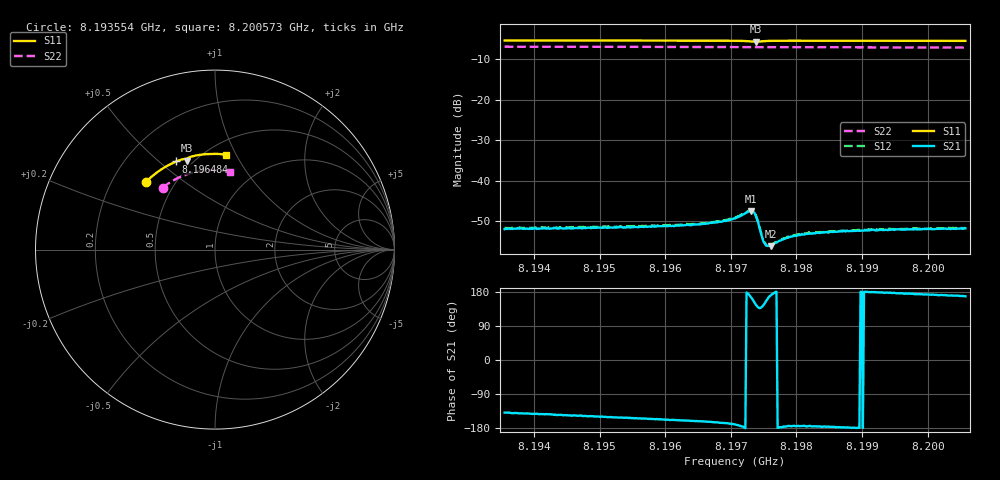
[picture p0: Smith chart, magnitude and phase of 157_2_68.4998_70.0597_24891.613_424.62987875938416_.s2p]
#  HZ  S  RI  R  50.00
! Rohde & Schwarz Vector Network Analyzer
! Rohde-Schwarz,ZNB20-2Port,1311601062101988,3.16
! Created: UTC 3/20/2024, 5:10:46 PM
! freq[Hz]  re:S11  im:S11  re:S21  im:S21  re:S12  im:S12  re:S22  im:S22
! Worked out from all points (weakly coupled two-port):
!   401 points, 8.193554 GHz to 8.200573 GHz, reference 50 ohm
!   highest |S21| = -47.44 dB at 8.197309 GHz (marker M1); lowest = -56.2 dB at 8.197608 GHz (marker M2)
!   lowest |S11| = -5.7 dB at 8.197379 GHz (marker M3), VSWR 3.16, Z = 23.1 + j31.4 ohm
!   |S11| at or under -10 dB: nowhere
!   |S22| runs from -7.1 to -6.9 dB; largest |S21 - S12| = 0.00025
!   S11 on the Smith chart (normalised r, x): 8.193554 GHz: 0.34, +0.36; 8.196484 GHz: 0.41, +0.57; 8.200573 GHz: 0.62, +0.91
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8.1935537e9  -0.3867 0.3752  -0.0019 -0.00166  -0.00203 -0.00163  -0.2912 0.3455
8.1947295e9  -0.324 0.4295  -0.00217 -0.00141  -0.0023 -0.00136  -0.2367 0.3827
8.1959053e9  -0.2534 0.4736  -0.00252 -0.00109  -0.00258 -0.00102  -0.1777 0.4117
8.1964844e9  -0.2157 0.4908  -0.00271 -0.000936  -0.00285 -0.000841  -0.147 0.4226
8.1968354e9  -0.1915 0.5002  -0.00303 -0.000773  -0.00308 -0.000673  -0.1279 0.4281
8.1970635e9  -0.174 0.5049  -0.00336 -0.000582  -0.00348 -0.000439  -0.1155 0.4311
8.1972565e9  -0.1566 0.5041  -0.00409 0.000304  -0.00417 0.000486  -0.1048 0.4334
8.1973092e9  -0.1529 0.5008  -0.00411 0.00106  -0.00416 0.00123  -0.1019 0.4339
8.1973443e9  -0.1526 0.4978  -0.00377 0.00168  -0.00381 0.00188  -0.1 0.4343
8.1973794e9  -0.1543 0.4958  -0.00308 0.00206  -0.00305 0.00219  -0.0981 0.4345
8.1974145e9  -0.1568 0.4969  -0.00232 0.00201  -0.00226 0.00213  -0.0963 0.4351
8.1974671e9  -0.1578 0.5015  -0.00161 0.0014  -0.00155 0.00152  -0.0935 0.4356
8.1975022e9  -0.1563 0.5048  -0.00144 0.000961  -0.00146 0.00105  -0.0916 0.4359
8.1975198e9  -0.1552 0.5062  -0.00145 0.000832  -0.00144 0.0009  -0.0905 0.4362
8.1975549e9  -0.1528 0.5086  -0.00147 0.000547  -0.00145 0.000612  -0.0887 0.4366
8.1976075e9  -0.1488 0.5115  -0.00153 0.000268  -0.00158 0.000326  -0.0858 0.4371
8.1977128e9  -0.1404 0.5153  -0.00175 -2.97e-05  -0.00182 3.13e-05  -0.0797 0.4381
8.1978883e9  -0.1271 0.5194  -0.00199 -0.000199  -0.00203 -0.000117  -0.0699 0.4395
8.1982393e9  -0.1016 0.5251  -0.00221 -0.000174  -0.00229 -7.97e-05  -0.0501 0.4416
8.198678e9  -0.0703 0.5298  -0.00238 -8.74e-05  -0.00242 -2.46e-06  -0.0253 0.4429
8.1994151e9  -0.0181 0.5334  -0.00248 0.000129  -0.00255 0.000229  0.0166 0.4419
8.2005733e9  0.0637 0.5286  -0.00252 0.00053  -0.00253 0.000631  0.0817 0.4323
